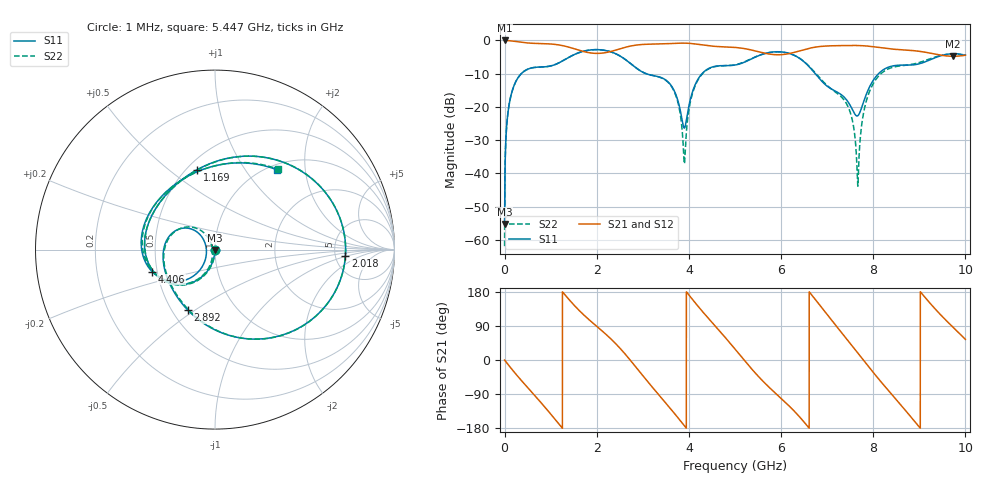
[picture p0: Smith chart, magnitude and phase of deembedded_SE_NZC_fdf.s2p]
# GHz S MA R 50
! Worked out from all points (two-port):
!   10000 points, 1 MHz to 10 GHz, reference 50 ohm
!   highest |S21| = 0.00 dB at 1 MHz (marker M1); lowest = -4.8 dB at 9.736 GHz (marker M2)
!   |S21| within 3 dB of the highest: 2.389 GHz to 5.395 GHz (3.006 GHz wide, 77.2 % of centre); 6.436 GHz to 8.819 GHz (2.382 GHz wide, 31.2 % of centre)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
!   lowest |S11| = -55.2 dB at 1 MHz (marker M3), VSWR 1.00, Z = 50 - j0.169 ohm
!   |S11| at or under -10 dB: start of sweep to 362.2 MHz; 3.073 GHz to 4.285 GHz (1.212 GHz wide, 32.9 % of centre); 6.742 GHz to 8.115 GHz (1.373 GHz wide, 18.5 % of centre)
!   |S22| runs from -61.9 to -2.8 dB; largest |S21 - S12| = 2e-15
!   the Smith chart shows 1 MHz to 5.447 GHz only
!   S11 on the Smith chart (normalised r, x): 1 MHz: 1.00, -0.00; 1.169 GHz: 0.56, +0.63; 2.018 GHz: 6.18, -0.99; 2.892 GHz: 0.60, -0.47; 4.406 GHz: 0.47, -0.13; 5.447 GHz: 1.10, +1.43
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0.001  0.001741 -103.2  0.9999 -0.2  0.9999 -0.2  0.0008054 -68.2
0.068  0.07606 -102.1  0.9949 -10.6  0.9949 -10.6  0.07602 -100.5
0.211  0.2141 -123.2  0.9711 -32.2  0.9711 -32.2  0.214 -122.2
0.684  0.3951 172.7  0.9017 -97.7  0.9017 -97.7  0.395 171.8
1.169  0.4565 102.5  0.8584 -167.3  0.8584 -167.3  0.4569 101.6
1.668  0.6751 33.9  0.6954 124.9  0.6954 124.9  0.6751 34.2
2.018  0.7275 -3.0  0.6388 87.0  0.6388 87.0  0.7272 -2.9
2.892  0.3696 -114.1  0.8576 -25.0  0.8576 -25.0  0.3709 -112.0
3.334  0.2855 179.2  0.8841 -90.2  0.8841 -90.2  0.2838 -177.9
3.902  0.04808 -174.7  0.9119 -173.5  0.9119 -173.5  0.01399 -174.0
4.406  0.3711 -160.7  0.8345 112.4  0.8345 112.4  0.3658 -159.8
5.001  0.4269 120.3  0.7854 28.8  0.7854 28.8  0.4299 115.2
5.447  0.5644 51.8  0.6938 -35.2  0.6938 -35.2  0.5682 52.0
5.998  0.6736 -10.7  0.6111 -101.0  0.6111 -101.0  0.671 -10.2
6.667  0.3638 -93.0  0.7767 171.4  0.7767 171.4  0.372 -90.5
7.174  0.1735 179.7  0.8337 93.4  0.8337 93.4  0.1689 -165.1
7.663  0.07369 -171.3  0.8392 19.0  0.8392 19.0  0.006547 -169.2
7.886  0.1778 -138.1  0.8217 -15.4  0.8217 -15.4  0.1477 -106.9
8.334  0.3973 -174.1  0.751 -81.2  0.751 -81.2  0.3753 -175.3
8.979  0.4422 98.2  0.6896 -173.8  0.6896 -173.8  0.4615 89.2
9.736  0.6327 -5.5  0.5779 86.0  0.5779 86.0  0.6254 -2.9
10  0.602 -31.8  0.5984 54.5  0.5984 54.5  0.5964 -31.7
